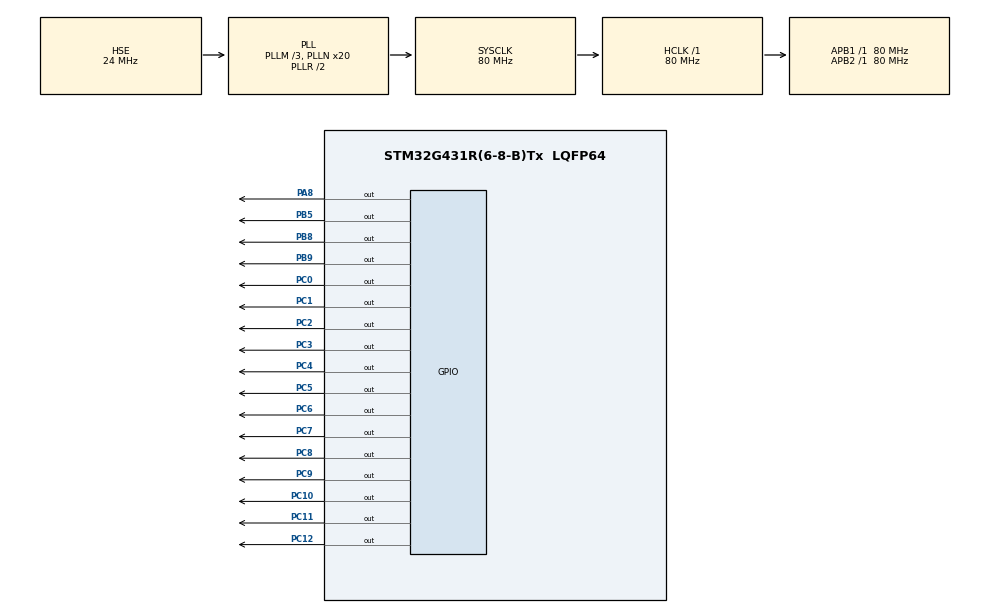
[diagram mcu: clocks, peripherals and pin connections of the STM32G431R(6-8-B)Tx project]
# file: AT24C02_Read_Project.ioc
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Mcu.Family=STM32G4
Mcu.Name=STM32G431R(6-8-B)Tx
Mcu.Package=LQFP64
NVIC.PriorityGroup=NVIC_PRIORITYGROUP_4
PA13.Mode=Serial_Wire
PA13.Signal=SYS_JTMS-SWDIO
PA14.Mode=Serial_Wire
PA14.Signal=SYS_JTCK-SWCLK
PA8.Signal=GPIO_Output
PB5.Signal=GPIO_Output
PB8-BOOT0.Signal=GPIO_Output
PB9.Signal=GPIO_Output
PC0.Signal=GPIO_Output
PC1.Signal=GPIO_Output
PC10.Signal=GPIO_Output
PC11.Signal=GPIO_Output
PC12.Signal=GPIO_Output
PC2.Signal=GPIO_Output
PC3.Signal=GPIO_Output
PC4.Signal=GPIO_Output
PC5.Signal=GPIO_Output
PC6.Signal=GPIO_Output
PC7.Signal=GPIO_Output
PC8.Signal=GPIO_Output
PC9.Signal=GPIO_Output
PF0-OSC_IN.Mode=HSE-External-Oscillator
PF0-OSC_IN.Signal=RCC_OSC_IN
PF1-OSC_OUT.Mode=HSE-External-Oscillator
PF1-OSC_OUT.Signal=RCC_OSC_OUT
ProjectManager.HeapSize=0x200
ProjectManager.StackSize=0x400
ProjectManager.TargetToolchain=MDK-ARM V5.32
RCC.ADC12Freq_Value=80000000
RCC.AHBFreq_Value=80000000
RCC.APB1Freq_Value=80000000
RCC.APB1TimFreq_Value=80000000
RCC.APB2Freq_Value=80000000
RCC.APB2TimFreq_Value=80000000
RCC.CortexFreq_Value=80000000
RCC.EXTERNAL_CLOCK_VALUE=12288000
RCC.HCLKFreq_Value=80000000
RCC.HSE_VALUE=24000000
RCC.HSI48_VALUE=48000000
RCC.HSI_VALUE=16000000
RCC.LSE_VALUE=32768
RCC.PLLM=RCC_PLLM_DIV3
RCC.PLLN=20
RCC.PLLSourceVirtual=RCC_PLLSOURCE_HSE
RCC.SYSCLKFreq_VALUE=80000000
RCC.SYSCLKSource=RCC_SYSCLKSOURCE_PLLCLK
RCC.USBFreq_Value=80000000
RCC.VCOOutputFreq_Value=160000000
VP_SYS_VS_DBSignals.Mode=DisableDeadBatterySignals
board=custom

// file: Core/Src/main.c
/* USER CODE BEGIN Header */
/**
  ******************************************************************************
  * @file           : main.c
  * @brief          : Main program body
  ******************************************************************************
  * @attention
  *
  * Copyright (c) 2025 STMicroelectronics.
  * All rights reserved.
  *
  * This software is licensed under terms that can be found in the LICENSE file
  * in the root directory of this software component.
  * If no LICENSE file comes with this software, it is provided AS-IS.
  *
  ******************************************************************************
  */
/* USER CODE END Header */
#include "main.h"
#include "gpio.h"

void SystemClock_Config(void);

/* USER CODE BEGIN 0 */
int dat[9];
void write_24c02(uint8_t addr,uint8_t data)
{
	I2CStart();
	I2CSendByte(0xa0);
	I2CWaitAck();
	I2CSendByte(addr);
	I2CWaitAck();
	I2CSendByte(data);
	I2CWaitAck();
	I2CStop();
	HAL_Delay(50);
}
uint8_t read_24c02(uint8_t addr)
{
	uint8_t data;
	I2CStart();
	I2CSendByte(0xa0);
	I2CWaitAck();
	I2CSendByte(addr);
	I2CWaitAck();
	I2CStop();
	HAL_Delay(50);
	I2CStart();
	I2CSendByte(0xa1);
	I2CWaitAck();
	data = I2CReceiveByte();
	I2CSendNotAck();
	I2CStop();
	HAL_Delay(50);
	return data;
}
/* USER CODE END 0 */

int main(void)
{

  /* MCU Configuration--------------------------------------------------------*/

  /* Reset of all peripherals, Initializes the Flash interface and the Systick. */
  HAL_Init();

  /* Configure the system clock */
  SystemClock_Config();

  /* Initialize all configured peripherals */
  MX_GPIO_Init();

  /* Infinite loop */
  /* USER CODE BEGIN WHILE */
	LCD_Init();
	LCD_SetBackColor(Cyan);
	LCD_SetTextColor(Black);
	LCD_Clear(Cyan);
	I2CInit();
	char i;
	for(i=0;i<9;i++)
	{
		dat[i]=read_24c02(i);
	}
	for(i=0;i<9;i++)
	{
		write_24c02(i,0);
	}
  while (1)
  {
		u8 text[30];
		sprintf((char *)text,"       AT24C02       ");
		LCD_DisplayStringLine(Line1, (unsigned char *)text);
	  sprintf((char *)text,"00:%d 01:%d 02:%d ",dat[0],dat[1],dat[2]);
		LCD_DisplayStringLine(Line3, (unsigned char *)text);
	  sprintf((char *)text,"03:%d 04:%d 05:%d ",dat[3],dat[4],dat[5]);
		LCD_DisplayStringLine(Line4, (unsigned char *)text);
	  sprintf((char *)text,"06:%d 07:%d 08:%d ",dat[6],dat[7],dat[8]);
		LCD_DisplayStringLine(Line5, (unsigned char *)text);

    /* USER CODE END WHILE */

  }
}

void SystemClock_Config(void)
{
  RCC_OscInitTypeDef RCC_OscInitStruct = {0};
  RCC_ClkInitTypeDef RCC_ClkInitStruct = {0};

  /** Configure the main internal regulator output voltage
  */
  HAL_PWREx_ControlVoltageScaling(PWR_REGULATOR_VOLTAGE_SCALE1);

  /** Initializes the RCC Oscillators according to the specified parameters
  * in the RCC_OscInitTypeDef structure.
  */
  RCC_OscInitStruct.OscillatorType = RCC_OSCILLATORTYPE_HSE;
  RCC_OscInitStruct.HSEState = RCC_HSE_ON;
  RCC_OscInitStruct.PLL.PLLState = RCC_PLL_ON;
  RCC_OscInitStruct.PLL.PLLSource = RCC_PLLSOURCE_HSE;
  RCC_OscInitStruct.PLL.PLLM = RCC_PLLM_DIV3;
  RCC_OscInitStruct.PLL.PLLN = 20;
  RCC_OscInitStruct.PLL.PLLP = RCC_PLLP_DIV2;
  RCC_OscInitStruct.PLL.PLLQ = RCC_PLLQ_DIV2;
  RCC_OscInitStruct.PLL.PLLR = RCC_PLLR_DIV2;
  if (HAL_RCC_OscConfig(&RCC_OscInitStruct) != HAL_OK)
  {
    Error_Handler();
  }

  /** Initializes the CPU, AHB and APB buses clocks
  */
  RCC_ClkInitStruct.ClockType = RCC_CLOCKTYPE_HCLK|RCC_CLOCKTYPE_SYSCLK
                              |RCC_CLOCKTYPE_PCLK1|RCC_CLOCKTYPE_PCLK2;
  RCC_ClkInitStruct.SYSCLKSource = RCC_SYSCLKSOURCE_PLLCLK;
  RCC_ClkInitStruct.AHBCLKDivider = RCC_SYSCLK_DIV1;
  RCC_ClkInitStruct.APB1CLKDivider = RCC_HCLK_DIV1;
  RCC_ClkInitStruct.APB2CLKDivider = RCC_HCLK_DIV1;

  if (HAL_RCC_ClockConfig(&RCC_ClkInitStruct, FLASH_LATENCY_2) != HAL_OK)
  {
    Error_Handler();
  }
}

void Error_Handler(void)
{
  __disable_irq();
  while (1)
  {
  }
}
